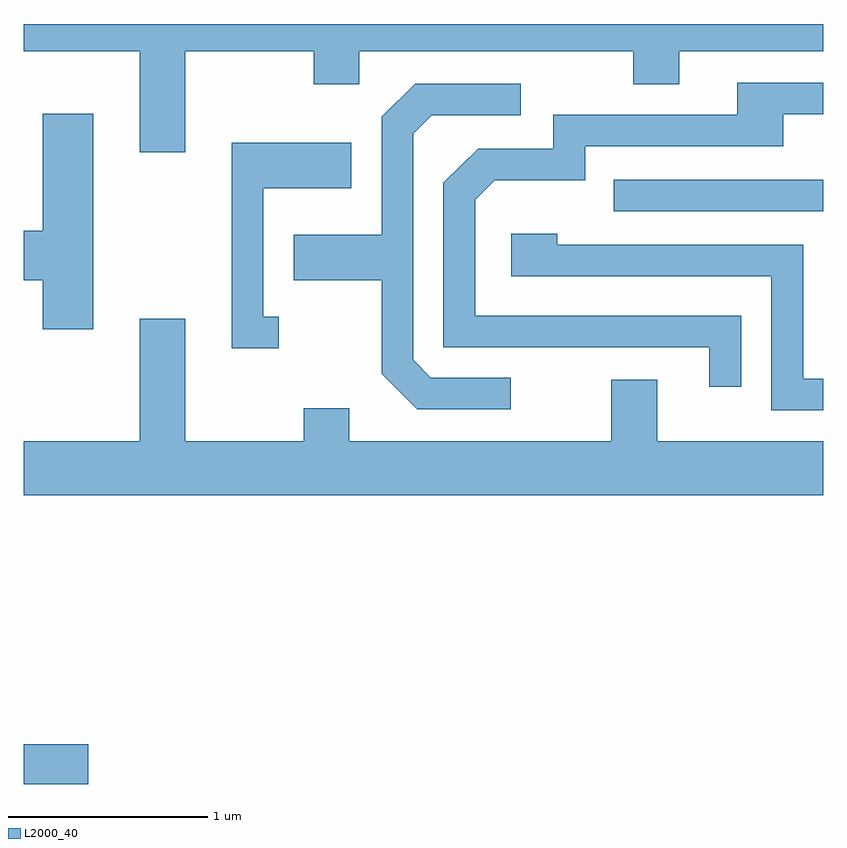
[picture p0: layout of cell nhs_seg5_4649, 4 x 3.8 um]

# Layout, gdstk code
import gdstk
lib = gdstk.Library(unit=1e-6, precision=1e-09)
def R(c, l, rs):  # rectangles x0, y0, x1, y1
    for r in rs: c.add(gdstk.rectangle(r[:2], r[2:], *l))
def P(c, l, *ps):  # polygons
    for p in ps: c.add(gdstk.Polygon(p, *l))
L2000_40 = (2000, 40)

nhs_seg5_4649 = lib.new_cell('nhs_seg5_4649')
R(nhs_seg5_4649, L2000_40, [(323.611,1424.271,323.934,1424.469), (326.563,1427.136,327.611,1427.294)])
P(nhs_seg5_4649, L2000_40, [(324.419,1427.936),(325.061,1427.936),(325.061,1427.771),(325.289,1427.771),(325.289,1427.936),(326.661,1427.936),(326.661,1427.771),(326.889,1427.771),(326.889,1427.936),(327.611,1427.936),(327.611,1428.072),(323.611,1428.072),(323.611,1427.936),(324.191,1427.936),(324.191,1427.431),(324.419,1427.431)],
  [(327.199,1426.614),(325.869,1426.614),(325.869,1427.194),(325.967,1427.291),(326.419,1427.291),(326.419,1427.461),(327.409,1427.461),(327.409,1427.621),(327.611,1427.621),(327.611,1427.779),(327.181,1427.779),(327.181,1427.619),(326.261,1427.619),(326.261,1427.449),(325.884,1427.449),(325.711,1427.277),(325.711,1426.456),(327.041,1426.456),(327.041,1426.258),(327.199,1426.258)],
  [(326.048,1426.304),(325.647,1426.304),(325.559,1426.392),(325.559,1427.524),(325.652,1427.616),(326.098,1427.616),(326.098,1427.774),(325.569,1427.774),(325.401,1427.607),(325.401,1427.019),(324.961,1427.019),(324.961,1426.791),(325.401,1426.791),(325.401,1426.324),(325.579,1426.146),(326.048,1426.146)],
  [(323.959,1427.624),(323.706,1427.624),(323.706,1427.039),(323.611,1427.039),(323.611,1426.791),(323.706,1426.791),(323.706,1426.546),(323.959,1426.546)],
  [(324.888,1426.609),(324.809,1426.609),(324.809,1427.251),(325.249,1427.251),(325.249,1427.479),(324.651,1427.479),(324.651,1426.451),(324.888,1426.451)],
  [(327.611,1426.299),(327.509,1426.299),(327.509,1426.969),(326.279,1426.969),(326.279,1427.024),(326.051,1427.024),(326.051,1426.811),(327.351,1426.811),(327.351,1426.141),(327.611,1426.141)],
  [(327.611,1425.984),(326.779,1425.984),(326.779,1426.294),(326.551,1426.294),(326.551,1425.984),(325.239,1425.984),(325.239,1426.149),(325.011,1426.149),(325.011,1425.984),(324.419,1425.984),(324.419,1426.599),(324.191,1426.599),(324.191,1425.984),(323.611,1425.984),(323.611,1425.716),(327.611,1425.716)])

lib.write_gds('nhs_seg5_4649.gds')
